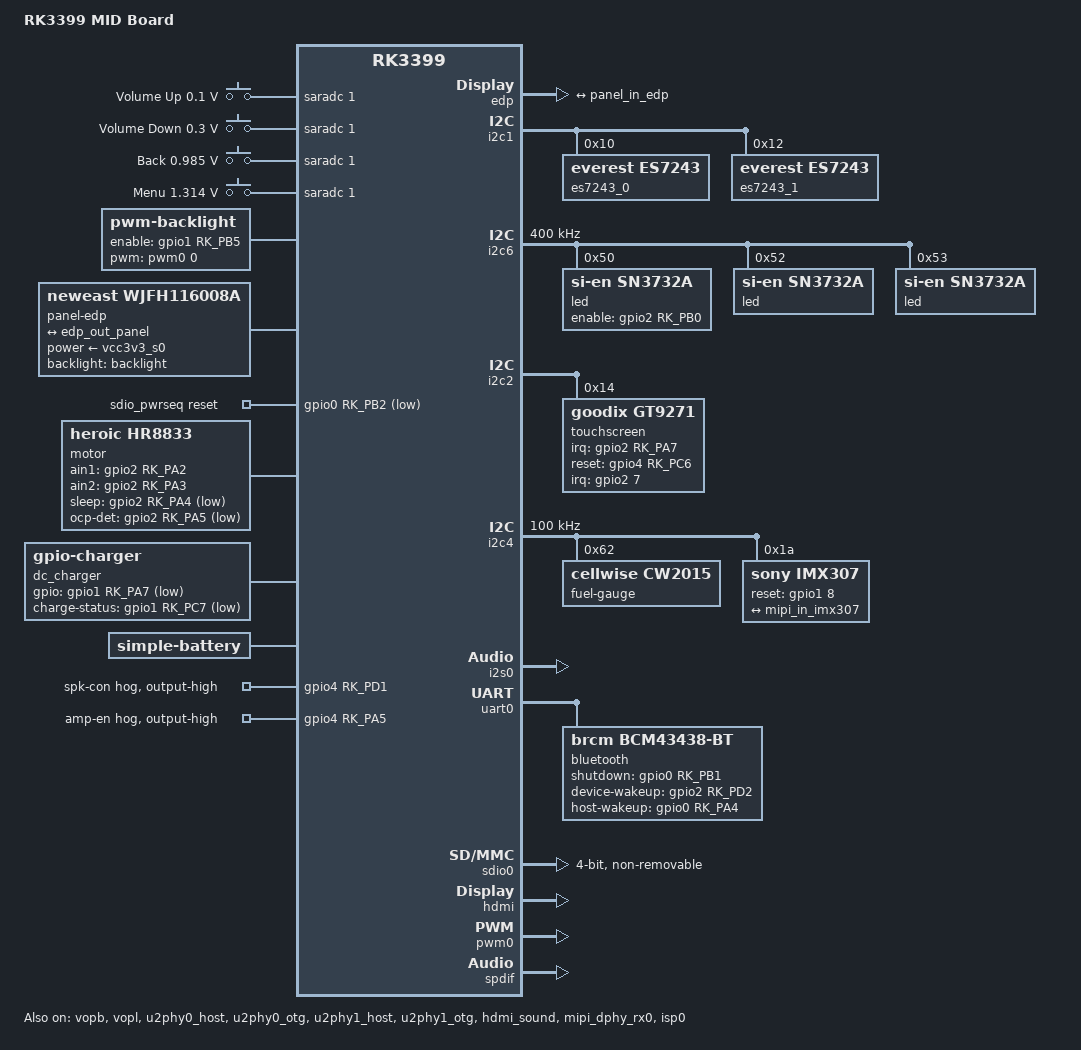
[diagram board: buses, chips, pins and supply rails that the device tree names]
// SPDX-License-Identifier: (GPL-2.0+ OR MIT)
/*
 * RK3399 MID Board (rockchip,rk3399-mid)
 *
 * 血统：Rockchip Sapphire + Excavator 参考设计定制版
 *   - 基础 = mainline rk3399-sapphire.dtsi（SoC 层 + PMIC + GMAC + eMMC/SD 全复用）
 *   - 本板 delta = eDP 1920x1080 屏 + Goodix GT9xx 触摸 + ES8316 音频 + CW2015 电池
 *
 * 依据：vendor DTB（resource.img 抽出，rk3399-mid-stock.dtb）逐项反编译比对
 * 生成：2026-11-10
 *
 * ⚠️ 待实测校准项（首次启动后需验证）：
 *   1. 触摸坐标范围（vendor 报 max-x=1536 / max-y=2048，需确认旋转方向）
 *   2. adc-keys 电压阈值（vendor 用 rockchip,adc_value 原始值，此处暂用 excavator 值）
 *   3. GMAC tx/rx delay（vendor 45/34，sapphire 默认 40/17，先按 vendor）
 */

/dts-v1/;

#include <dt-bindings/gpio/gpio.h>
#include <dt-bindings/interrupt-controller/irq.h>
#include <dt-bindings/input/linux-event-codes.h>
#include <dt-bindings/pinctrl/rockchip.h>
#include "rk3399-sapphire.dtsi"

/ {
	model = "RK3399 MID Board";
	compatible = "rockchip,rk3399-mid", "rockchip,rk3399";

	aliases {
		mmc2 = &sdio0;
	};

	/*
	 * 按键：本板用 rockchip,key（adc）驱动。
	 * mainline 对应 adc-keys，阈值暂用 excavator 官方值，待实测校准。
	 */
	adc-keys {
		compatible = "adc-keys";
		io-channels = <&saradc 1>;
		io-channel-names = "buttons";
		keyup-threshold-microvolt = <1800000>;
		poll-interval = <100>;

		button-up {
			label = "Volume Up";
			linux,code = <KEY_VOLUMEUP>;
			press-threshold-microvolt = <100000>;
		};

		button-down {
			label = "Volume Down";
			linux,code = <KEY_VOLUMEDOWN>;
			press-threshold-microvolt = <300000>;
		};

		button-back {
			label = "Back";
			linux,code = <KEY_BACK>;
			press-threshold-microvolt = <985000>;
		};

		button-menu {
			label = "Menu";
			linux,code = <KEY_MENU>;
			press-threshold-microvolt = <1314000>;
		};
	};

	/*
	 * 背光：vendor  pwms=<&pwm0 0 25000 0>  enable-gpios=<&gpio1 RK_PB5 ACTIVE_HIGH>
	 * 与 excavator 完全一致。
	 */
	backlight: backlight {
		compatible = "pwm-backlight";
		brightness-levels = <
			  0   1   2   3   4   5   6   7
			  8   9  10  11  12  13  14  15
			 16  17  18  19  20  21  22  23
			 24  25  26  27  28  29  30  31
			 32  33  34  35  36  37  38  39
			 40  41  42  43  44  45  46  47
			 48  49  50  51  52  53  54  55
			 56  57  58  59  60  61  62  63
			 64  65  66  67  68  69  70  71
			 72  73  74  75  76  77  78  79
			 80  81  82  83  84  85  86  87
			 88  89  90  91  92  93  94  95
			 96  97  98  99 100 101 102 103
			104 105 106 107 108 109 110 111
			112 113 114 115 116 117 118 119
			120 121 122 123 124 125 126 127
			128 129 130 131 132 133 134 135
			136 137 138 139 140 141 142 143
			144 145 146 147 148 149 150 151
			152 153 154 155 156 157 158 159
			160 161 162 163 164 165 166 167
			168 169 170 171 172 173 174 175
			176 177 178 179 180 181 182 183
			184 185 186 187 188 189 190 191
			192 193 194 195 196 197 198 199
			200 201 202 203 204 205 206 207
			208 209 210 211 212 213 214 215
			216 217 218 219 220 221 222 223
			224 225 226 227 228 229 230 231
			232 233 234 235 236 237 238 239
			240 241 242 243 244 245 246 247
			248 249 250 251 252 253 254 255>;
		default-brightness-level = <200>;
		enable-gpios = <&gpio1 RK_PB5 GPIO_ACTIVE_HIGH>;
		pwms = <&pwm0 0 25000 0>;
		status = "okay";
	};

	/*
	 * eDP 面板 —— 2026-11-16 最终形态（platform 面板 + 端口连线），实测点亮。
	 *
	 * 三条弯路，都已在实机排除：
	 *  ⛔ 1) `edp-panel { compatible = "simple-panel"; display-timings {...} }`（vendor 写法）
	 *       内核 6.18 已无效：panel-simple 删掉了 generic "simple-panel" 匹配，
	 *       且 panel_simple_probe() 见到 DRM_MODE_CONNECTOR_eDP 直接 -EINVAL
	 *       （日志 "eDP panels moved to panel-edp"）⇒ 面板无 driver、dp 永久 deferred、黑屏。
	 *  ⛔ 2) generic `"edp-panel"`：只能在 DP AUX 总线且必须有 EDID。
	 *       本板 AUX 读不到 EDID（/sys/class/drm/card0-eDP-1/edid = 0 字节），
	 *       num_modes/num_timings 全 0 ⇒ connector 一个 mode 都没有。
	 *  ⛔ 3) 面板挂 aux-bus 子节点：analogix_dp_aux_done_probing() 只在 port 1
	 *       （edp_out）的 endpoint 上找下游 panel/bridge，aux-bus 不在端口图里，
	 *       connector 拿不到数据源 ⇒ 依旧黑屏。
	 *
	 *  ✅ 正确写法（参 rk3399-sapphire-excavator）：把面板作为**根节点 platform 设备**，
	 *     用 `port/endpoint` 与 &edp 的 port@1 互相 remote-endpoint。这样
	 *     panel_edp_platform_probe() 用 platform_of_match（表首是 generic "edp-panel"，
	 *     故匹配时 +1 跳过）拿到固定时序，完全不依赖 EDID。
	 *
	 *  面板规格：neweast wjfh116008a，1920x1080@60，138.5 MHz，bpc 6（=18bpp），
	 *  260x150 mm。vendor `bus-format = <0x1009>`（MEDIA_BUS_FMT_RGB666_1X18）亦印证 6bpc。
	 *  ⚠️ 注意 vendor 的消隐区分布与本条目不同（vendor hfp/HSW/hbp = 120/8/32、
	 *     vfp/VSW/vbp = 23/2/6；mainline = 48/32/80、3/5/23），但 htotal 2080、
	 *     vtotal 1111、时钟 138.5 MHz 完全一致，实机出图正常（eDP 的 DE 由 MSA 重建）。
	 */
	panel-edp {
		compatible = "neweast,wjfh116008a";
		backlight = <&backlight>;
		power-supply = <&vcc3v3_s0>;
		status = "okay";

		port {
			panel_in_edp: endpoint {
				remote-endpoint = <&edp_out_panel>;
			};
		};
	};

	/*
	 * ⛔ 2026-11-16 判伪：**本板没有 ES8316**（用户实拍丝印后重定）。
	 *
	 * 音频区实物是两颗：
	 *   - ES7148（Everest 顺芯，QFN-12 2.5×2.5）：24-bit 立体声 DAC，
	 *     **无 I2C、无寄存器**，只要 SCLK/LRCK/CLKIN/SDATA + 3.0~3.6V，上电即工作；
	 *   - HT4832（嘉兴禾润 Heroic，QFN-16 3×3）：立体声**耳机**功放，
	 *     接在 ES7148 的 AOUTLN/AOUTRN 之后（EN 脚低电平关断）。
	 *
	 * ⇒ 此前「0x11 无 ACK ⇒ 供电没到」整套推理建立在错误前提上：
	 *   这颗芯片不存在，也从来没有 I2C 引脚可应答。
	 *   vendor DTS 的 `es8316@11` 只是**空壳节点**——提供 `#sound-dai-cells`
	 *   让 simple-audio-card 能绑定，外加 `spk-con-gpio`/`amp-en-gpio`
	 *   两个自定义属性给功放使能；vendor 驱动不读寄存器，原厂 Android 照常出声。
	 *   mainline 真 es8316.c 一 probe 就打 I2C，于是 210 条 `ASoC error(-6)`。
	 *
	 * 本板音频链路：
	 *   I2S0 ─► ES7148(DAC) ─┬─► HT4832 ─► 3.5mm 耳机
	 *                        └─► 板载 Class-D ─► 喇叭（使能 spk-con/amp-en，已 gpio-hog 常开）
	 */
	es7148: audio-dac {
		/*
		 * mainline 没有 es7148 驱动，但 es7134.c（"a very simple DA converter
		 * with no register"）的 DAI 行为完全等价：纯 I2S 从机、无寄存器、
		 * 只做 mclk/fs 合法性校验（8k–48k 允许 256fs）。
		 * 选 everest,es7144 而不是 ti,pcm5102a，是为了保持同一厂商血统；
		 * 两者都已编成模块（CONFIG_SND_SOC_ES7134=m / PCM5102A=m），可互换。
		 */
		compatible = "everest,es7144";
		#sound-dai-cells = <0>;
	};

	/*
	 * 复合 codec：mainline 版的「vendor es8316」
	 *
	 * 原厂结构是 es8316 codec 驱动统管播放(ES7148)与采集(2x ES7243)，
	 * 两颗 ES7243 只是裸 i2c client，不在任何 sound card 里；4 麦数据从
	 * i2s0 的 capture 通路进系统（原厂 es8316_pcm_startup -> es7243_start）。
	 *
	 * mainline 的 simple-audio-card 一个 dai_link 只能挂一个 codec DAI，
	 * 要播放与采集共用 i2s0，就必须由一个 DAI 同时提供两个方向
	 * ⇒ 本节点对应的驱动（kernel-modules/es7243/es7243.c）同时提供
	 *   playback（ES7148 直通）与 capture（4ch，内含 ES7243 上电时序）。
	 */
	mic_array: mic-array {
		compatible = "rockchip,rk3399-mid-audio";
		#sound-dai-cells = <0>;
		/*
		 * ES7243 在没有 MCLK 之前不应答 I2C（厂商 ESPHome/ESP-ADF 驱动
		 * 里明确写了这点）。由本驱动 probe 时打开并常开，不依赖
		 * rockchip_i2s 的 runtime_resume —— ASoC 里 codec 的 hw_params
		 * 先于 cpu dai 执行，那时 i2s 的 mclk 还没 enable。
		 */
		clocks = <&cru SCLK_I2S0_8CH>;
		clock-names = "mclk";
		everest,adc = <&es7243_0>, <&es7243_1>;
		status = "okay";
	};

	es7148_sound: es7148-sound {
		compatible = "simple-audio-card";
		simple-audio-card,name = "rk3399-mid-es7148";
		simple-audio-card,format = "i2s";
		/* ES7148 的 CLKIN 需要 256fs；SoC 侧由 rockchip_i2s set_sysclk 落频 */
		simple-audio-card,mclk-fs = <256>;
		/* ES7148 只能做从机（只吃时钟）⇒ SoC 必须是 bitclock / frame master */
		simple-audio-card,bitclock-master = <&es7148_cpu>;
		simple-audio-card,frame-master = <&es7148_cpu>;
		/*
		 * 不再写 widgets / routing：
		 * dummy DAC 没有 HPOL/HPOR 之类的 DAPM 引脚，写了只会换来
		 * "Failed to add route" 并让整张卡注册失败（旧版就是这么挂的）。
		 * 喇叭与耳机在硬件上直接挂在 DAC 输出之后，无需软件路由。
		 */

		es7148_cpu: simple-audio-card,cpu {
			sound-dai = <&i2s0>;
		};

		simple-audio-card,codec {
			/*
			 * 注意：不再是 &es7148（es7134 占位），而是能同时给
			 * playback + capture 的复合 codec —— 否则 card 0 根本
			 * 不会有 capture PCM（arecord -l 里看不到）。
			 */
			sound-dai = <&mic_array>;
		};
	};

	/* SDIO WiFi 电源序列（vendor reset-gpios = gpio0 RK_PB2 ACTIVE_LOW） */
	sdio_pwrseq: sdio-pwrseq {
		compatible = "mmc-pwrseq-simple";
		clocks = <&rk808 1>;
		clock-names = "ext_clock";
		pinctrl-names = "default";
		pinctrl-0 = <&wifi_enable_h>;
		reset-gpios = <&gpio0 RK_PB2 GPIO_ACTIVE_LOW>;
	};

	/*
	 * 云台单轴电机 —— HR8833 双 H 桥（mainline 无此驱动，需自写）
	 *
	 * 引脚完全取自 vendor /motor 节点：
	 *   AIN1    GPIO2_A2  高 = 正转
	 *   AIN2    GPIO2_A3  高 = 反转
	 *   nSLEEP  GPIO2_A4  ACTIVE_LOW（vendor flag=0x01），逻辑 1 = 休眠
	 *   OCP-DET GPIO2_A5  ACTIVE_LOW（vendor flag=0x08），逻辑 1 = 过流
	 *
	 * 注意 vendor 用的是单数属性名 ain1-gpio，这里按 mainline 规范写复数
	 * ain1-gpios（gpiod_get 两者都认，复数更标准）。
	 * 驱动源码：kernel-modules/hr8833/hr8833.c（经 0001-misc-add-hr8833.patch
	 * 编入内核），用户态接口 /dev/hr8833 + /sys/class/misc/hr8833/device/。
	 */
	motor: motor {
		compatible = "heroic,hr8833";
		ain1-gpios = <&gpio2 RK_PA2 GPIO_ACTIVE_HIGH>;
		ain2-gpios = <&gpio2 RK_PA3 GPIO_ACTIVE_HIGH>;
		sleep-gpios = <&gpio2 RK_PA4 GPIO_ACTIVE_LOW>;
		/*
		 * nFAULT 是开漏输出（datasheet: "Logic low when in fault
		 * condition"），必须有上拉才能读到高电平。这里显式带
		 * GPIO_PULL_UP flag，与 vendor 的 flag=0x08 一致；
		 * 只靠 pinctrl 的 pcfg_pull_up 在 gpiolib request 之后会被
		 * 覆盖，实测过 pin69 仍是 pull-down。
		 */
		ocp-det-gpios = <&gpio2 RK_PA5 (GPIO_ACTIVE_LOW | GPIO_PULL_UP)>;
		pinctrl-names = "default";
		pinctrl-0 = <&motor_pins>;
		status = "okay";
	};

	/*
	 * DC 插入检测 —— 原来完全没有，导致 cw2015 每 2 秒刷一条
	 *   "Failed to get supply state: -19"（power_supply_am_i_supplied
	 *   找不到供电源返回 -ENODEV），且电池状态永远是 Discharging。
	 *
	 * 引脚来自 vendor DTS（原文 dc_det_gpio = <0x34 0x07 0x01>，flag 0x01 = ACTIVE_LOW）：
	 *   dc_det_gpio   = <&gpio1 RK_PA7 GPIO_ACTIVE_LOW>    ← 插 DC 时拉低
	 *   charge-ok     = <&gpio1 RK_PC7 GPIO_ACTIVE_LOW>    ← 充电 IC 状态（开漏）
	 *
	 * 2026-11-16 实测：插着 DC 时该脚读到 0。原先误写 ACTIVE_HIGH，导致
	 * ONLINE 恒 0、电池恒报 Discharging —— 但充电实际在进行（CW2015 电压
	 * 从 3.88V 升到 4.19V，×2 分压即 7.76→8.38V 可证）。极性改正后
	 * ONLINE 应为 1、电池状态转 Charging。
	 */
	dc_charger: dc-charger {
		compatible = "gpio-charger";
		charger-type = "mains";
		gpios = <&gpio1 RK_PA7 GPIO_ACTIVE_LOW>;
		charge-status-gpios = <&gpio1 RK_PC7 GPIO_ACTIVE_LOW>;
	};

	/*
	 * 电池静态参数 —— CW2015 的 CHARGE_FULL_DESIGN / CURRENT_NOW /
	 * TIME_TO_EMPTY 全部依赖它，没有这个节点读出来全是 0。
	 *
	 * ⚠️ 容量 5000 mAh 为估值（Android 镜像与 ADB 基线里都没留容量信息），
	 *    待实测放电曲线校准。电压范围按 2S 锂电包。
	 */
	battery: battery {
		compatible = "simple-battery";
		device-chemistry = "lithium-ion";
		charge-full-design-microamp-hours = <5000000>;
		voltage-min-design-microvolt = <6000000>;
		voltage-max-design-microvolt = <8400000>;
	};
};

/* ---------------- eDP ---------------- */
&edp {
	pinctrl-names = "default";
	pinctrl-0 = <&edp_hpd>;
	status = "okay";

	/*
	 * port@1（输出侧）的 endpoint 是 analogix_dp_aux_done_probing() /
	 * drm_of_find_panel_or_bridge() 唯一会去找下游面板的位置。
	 * 必须与根节点 panel-edp 的 endpoint 互相 remote-endpoint，否则
	 * connector 找不到面板 ⇒ 无 mode ⇒ 黑屏。
	 */
	ports {
		port@0 {
			/*
			 * ★ 删掉 edp_in_vopb，eDP 只保留 VOPL。
			 * 原因见 &vopl_out 上方的长注释（CRTC 绑定锁死）。
			 */
			/delete-node/ endpoint@0;
		};

		port@1 {
			reg = <1>;

			edp_out_panel: endpoint {
				remote-endpoint = <&panel_in_edp>;
			};
		};
	};
};

/*
 * ★ CRTC 绑定锁死：eDP → VOPL，HDMI → VOPB
 *
 * 基础 dtsi 里 eDP 和 HDMI 各自都有两条输入端点，同时连着 VOPB 和 VOPL，
 * 于是 drm_of_find_possible_crtcs() 会把两个 VOP 都算进两者的 possible_crtcs。
 * 运行中热插拔 HDMI 时 rockchip-drm 会做全量 atomic modeset 并重新挑 CRTC，
 * 一旦抢到 eDP 正在用的那个 ⇒ commit 失败 ⇒ 两块屏一起黑，极端情况整机挂死
 * （本板 2026-11-16 实测踩到：拔 HDMI 后 eDP 也黑，且 SSH 完全失联）。
 *
 * 把多余的连线删掉后，每个显示器的 possible_crtcs 只剩一个 VOP：
 *   eDP  → VOPL（内屏 1080p60，像素时钟 148.5MHz，VOPL 带得动，且只需 1 个窗口）
 *   HDMI → VOPB（4K 只有大 VOP 扛得住）
 * 两者不可能抢同一个 CRTC，热插拔不会再波及对方。
 *
 * 注意：删 endpoint 时必须成对删（输入端 + VOP 输出端），否则 dtc 会报
 * "Reference to non-existent node"（phandle 指向已删除节点）。
 */

/* eDP 占用 vopl_out 的 endpoint@1（vopl_out_edp），保留 */
&vopl_out {
	/* hdmi_in_vopl 已被删，对应的 vopl_out_hdmi 必须同步删掉 */
	/delete-node/ endpoint@2;
};

/* HDMI 占专用 vopb_out 的 endpoint@2（vopb_out_hdmi），保留 */
&vopb_out {
	/* edp_in_vopb 已被删，对应的 vopb_out_edp 必须同步删掉 */
	/delete-node/ endpoint@0;
};

/* ---------------- I2C1：ES8316 音频 + ES7243 麦阵 ---------------- */
&i2c1 {
	i2c-scl-rising-time-ns = <300>;
	i2c-scl-falling-time-ns = <15>;
	status = "okay";

	/*
	 * ⛔ 此处原有一个 `es8316@11` 节点，2026-11-16 已删除。
	 *
	 * 原因：板上**没有 ES8316**（用户实拍丝印：音频区是 ES7148 + HT4832）。
	 * 旧的证据链（"ES7243 在 0x10/0x12 应答 ⇒ 总线正常，所以 0x11 不响就是供电没到"）
	 * 是从「芯片存在」这个错误前提出发的，推理本身没错但结论无意义。
	 * ES7148 根本没有 I2C 接口，0x11 当然永远不 ACK，210 条 ASoC error(-6) 同理。
	 *
	 * 留在这里的只有两颗真实存在的 ES7243 麦阵 ADC。
	 */

	/*
	 * 2026-11-16 实物扫描确认：i2c-1 上 0x10 / 0x12 均有设备应答（ES7243 ×2）。
	 * mainline 无 es7243 驱动，节点仅用于标识，不会有 driver 绑定。
	 */
	es7243_0: audio-codec@10 {
		compatible = "everest,es7243";
		reg = <0x10>;
		#sound-dai-cells = <0>;
		status = "okay";
	};

	es7243_1: audio-codec@12 {
		compatible = "everest,es7243";
		reg = <0x12>;
		#sound-dai-cells = <0>;
		status = "okay";
	};
};

/* ---------------- I2C6：SN3732A LED 控制器 ×3（ff150000）---------------- */
/*
 * ★ 2026-11-16 判伪：SN3732A 是 Si-En「趣味灯 / 矩阵 LED」驱动，**不是音频功放**。
 *   同族 SN3726(16 位 LED) / SN3728(音频调制 LED 矩阵) / SN3730(音频调制 LED 矩阵)
 *   / SN3731(144 颗 LED 矩阵) 全部是 LED 驱动；"audio modulated" 指灯效随音乐呼吸。
 *   三颗同挂靠 I2C 地址区分（该族规格：地址可选，最多支持挂四颗），与声道无关。
 *   喇叭功放是另一颗无 I2C 的模拟输入 Class-D，靠 spk-con(GPIO4_D1) /
 *   amp-en(GPIO4_A5) 使能，故本 DTS 无其节点。
 *
 * 节点：0x50 那颗带 enable-gpio = GPIO2 RK_PB0（灯控使能）。
 * mainline 无 si-en,sn3732a 驱动（leds-is31fl32xx 只收了 sn3216/sn3218），
 * 这里只让总线可用以便 i2cdetect 验证硬件；节点名用 led@ 而非 amp@。
 */
&i2c6 {
	status = "okay";
	clock-frequency = <400000>;

	led@50 {
		compatible = "si-en,sn3732a";
		reg = <0x50>;
		enable-gpio = <&gpio2 RK_PB0 GPIO_ACTIVE_HIGH>;
		status = "okay";
	};

	led@52 {
		compatible = "si-en,sn3732a";
		reg = <0x52>;
		status = "okay";
	};

	led@53 {
		compatible = "si-en,sn3732a";
		reg = <0x53>;
		status = "okay";
	};
};

/* ---------------- I2C2：Goodix GT9xx 触摸 ---------------- */
&i2c2 {
	i2c-scl-rising-time-ns = <150>;
	i2c-scl-falling-time-ns = <20>;
	status = "okay";

	touchscreen@14 {
		/*
		 * 2026-11-16 实测修正：屏下的触摸芯片是 **GT9271**（驱动回读 ID=9271），
		 * 且 GT9xx 的 I2C 从地址由**复位释放瞬间 INT 脚电平**决定：
		 *   INT 低 → 0x5D，INT 高 → 0x14。
		 * 本板 INT 脚（GPIO2_A7）为默认上拉 ⇒ 芯片落在 **0x14**。
		 * 旧写 reg = <0x5d>（照抄 vendor）时驱动一直读 0x5d 收不到 ACK：
		 *   dmesg: "Error reading 1 bytes from 0x8140: -6" /
		 *          "I2C communication failure: -6"
		 * 实测 i2cdetect -y 2 只有 0x14 应答，0x5d 无。
		 *
		 * goodix 驱动对 0x14 有专门处理（goodix.c：
		 *   goodix_irq_direction_output(ts, ts->client->addr == 0x14)），
		 * 复位时会把 INT 拉高来锁定 0x14；但这要求 **irq-gpios 存在**
		 * （否则 irq_pin_access_method = NONE，复位流程直接失败）。
		 * 所以 irq-gpios 与 interrupts 必须同时给：前者供驱动复位选地址，
		 * 后者供 Linux 申请中断。
		 */
		compatible = "goodix,gt9271";
		reg = <0x14>;
		interrupt-parent = <&gpio2>;
		interrupts = <7 IRQ_TYPE_EDGE_FALLING>;
		irq-gpios = <&gpio2 RK_PA7 GPIO_ACTIVE_HIGH>;
		reset-gpios = <&gpio4 RK_PC6 GPIO_ACTIVE_HIGH>;
		/*
		 * 2026-11-16 修正：原来 pinctrl-0 = <&touch_int &lcd_panel_reset>，
		 * 而 lcd_panel_reset 是 gpio3 RK_PA4，该脚已被 fe300000.ethernet(GMAC) 申请，
		 * 导致 pinctrl 报 "pin gpio3-4 already requested by fe300000.ethernet"
		 * → probe -EINVAL，触摸完全没有 driver。
		 * vendor DTB 中触摸只用了中断脚，故只保留 touch_int。
		 */
		pinctrl-names = "default";
		pinctrl-0 = <&touch_int>;
		touchscreen-size-x = <1920>;
		touchscreen-size-y = <1080>;
		status = "okay";
	};
};

/* ---------------- I2C4：CW2015 电量计 + 充电检测 ---------------- */
&i2c4 {
	i2c-scl-rising-time-ns = <345>;
	i2c-scl-falling-time-ns = <11>;
	clock-frequency = <100000>;
	status = "okay";

	fuel-gauge@62 {
		compatible = "cellwise,cw2015";
		reg = <0x62>;
		cellwise,battery-profile = /bits/ 8 <
			0x15 0x7e 0x67 0x59 0x3e 0x49 0x5b 0x63
			0x5a 0x4e 0x49 0x4a 0x50 0x5c 0x67 0x65
			0x56 0x49 0x44 0x42 0x41 0x42 0x46 0x4f
			0x58 0x60 0x0b 0x85 0x4b 0x76 0x8d 0xa1
			0xae 0xaf 0xb2 0xb8 0x36 0x0e 0x64 0x01
			0x01 0x3b 0x38 0x6b 0x73 0x9a 0x9b 0x0f
			0x26 0x70 0xa2 0xc3 0x80 0xbf 0x94 0xcb
			0x2f 0x7d 0x72 0xa5 0xb5 0xc1 0x58 0xc9>;
		cellwise,monitor-interval-ms = <2000>;
		monitored-battery = <&battery>;
		power-supplies = <&dc_charger>;

		/*
		 * ⚠️ 电压少报一半（已知未解决）
		 * vendor DTS 还有 divider_res1 = divider_res2 = 0xc8 (200)，
		 * 即电池电压经 200k/200k 分压后才进 CW2015。
		 * mainline cw2015_battery.c 的 cw_get_voltage() 只做
		 *   voltage_mv = avg * 312 / 1024
		 * 没有 divider 补偿，所以 voltage_now 只有实际值的一半。
		 * 实测 3.97V → 实际电池 7.95V（2S 电池包）。
		 * SOC 不受影响（芯片内部按单体电压查表）。
		 * 要修需要给驱动打补丁加 divider 支持。
		 */
	};
};

/* ---------------- 音频 I2S ---------------- */
&i2s0 {
	rockchip,playback-channels = <8>;
	rockchip,capture-channels = <8>;
	/*
	 * MCLK 不用额外补：mainline 的 `i2s0_8ch_bus` 第 9 项就是
	 *   <4 RK_PA0 1 &pcfg_pull_none>   = GPIO4_A0 = I2S0_MCLK
	 * （vendor 拆成独立的 `i2s-8ch-mclk` 组挂在 codec 节点上，
	 *  mainline 已并进 bus 组，且没有 i2s0_8ch_mclk 这个标签，别去引用它）。
	 */
	status = "okay";
};

/*
 * 模拟部分供电：旧版靠 es8316 节点的 avdd/dvdd-supply 顺带拉起，
 * 节点删掉后必须显式常开，否则 ES7148 / HT4832 / ES7243 全部掉电
 * （连 ES7243 的 I2C 应答都会跟着消失）。
 */
&vcca3v0_codec {
	regulator-always-on;
};

&vcca1v8_codec {
	regulator-always-on;
};

/* ---------------- 显示 ---------------- */
&vopb {
	status = "okay";
};

&vopb_mmu {
	status = "okay";
};

&vopl {
	status = "okay";
};

&vopl_mmu {
	status = "okay";
};

/* ---------------- pinctrl ---------------- */
&pinctrl {
	sdio-pwrseq {
		wifi_enable_h: wifi-enable-h {
			rockchip,pins = <0 RK_PB2 RK_FUNC_GPIO &pcfg_pull_none>;
		};
	};

	touch {
		touch_int: touch-int {
			rockchip,pins = <2 RK_PA7 RK_FUNC_GPIO &pcfg_pull_up>;
		};
	};

	/* 云台 4 根线：AIN1/AIN2/nSLEEP 输出，OCP-DET 输入带上拉 */
	motor {
		motor_pins: motor-pins {
			rockchip,pins =
				<2 RK_PA2 RK_FUNC_GPIO &pcfg_pull_none>,
				<2 RK_PA3 RK_FUNC_GPIO &pcfg_pull_none>,
				<2 RK_PA4 RK_FUNC_GPIO &pcfg_pull_none>,
				<2 RK_PA5 RK_FUNC_GPIO &pcfg_pull_up>;
		};
	};

	/*
	 * 摄像头 MCLK：GPIO2_B3 func3 = CIF_CLKOUT。
	 * 依据 vendor DTS 的 cif-clkout 组（<0x02 0x0b 0x03 0xbc>，作 ISP pinctrl-0）
	 * 与 cam_board.xml 的 SensorMclk=37125000。
	 * ★ 2026-11-17 实测教训：mainline rkisp1 不带这个 pinctrl，脚一直 UNCLAIMED，
	 *   clk_cifout 停在默认 6 MHz 无 consumer ⇒ sensor 拿不到 INCK，
	 *   写 0x3000=STREAMING 后会自己退回 STANDBY，MIPI 无数据。
	 */
	camera {
		cif_clkout: cif-clkout {
			rockchip,pins = <2 RK_PB3 3 &pcfg_pull_none>;
		};
	};
};

/* ---------------- UART0：AP6255 蓝牙（BCM4345C0） ---------------- */
/*
 * 2026-11-16 新增。AP6255 = WiFi(SDIO) + BT(UART) 二合一模块。
 * vendor 侧参数（rk3399-mid-stock.dts wireless-bluetooth 节点）：
 *   BT,reset_gpio   = <&gpio0 9 0>   → GPIO0_B1  BT_REG_ON（高=上电）
 *   BT,wake_gpio    = <&gpio2 26 0>  → GPIO2_D2  host→device 唤醒
 *   BT,wake_host_irq= <&gpio0 4 0>   → GPIO0_A4  device→host 唤醒
 *   uart_rts_gpios  = <&gpio2 19 1>  → GPIO2_C3  (= uart0 RTS 复用脚)
 *
 * ⚠️ RTS 必须一起复用（uart0_rts），这是关键：
 *   sapphire.dtsi 默认只复用 uart0_xfer + uart0_cts，RTS 脚留在 GPIO 态。
 *   实测该状态下 hci0 能建出来，但 "command 0x0c03 tx timeout /
 *   BCM: Reset failed (-110)" —— 因为模块侧 CTS 悬空，模块不放行发送。
 *   补上 &uart0_rts 后一次通过：芯片 ID 107、features 0x2f、
 *   HCD 补丁下载成功、波特率升到 37.4 MHz。
 */
&uart0 {
	pinctrl-names = "default";
	pinctrl-0 = <&uart0_xfer &uart0_cts &uart0_rts>;
	status = "okay";

	bluetooth {
		compatible = "brcm,bcm43438-bt";
		clocks = <&rk808 1>;
		clock-names = "ext_clock";
		shutdown-gpios = <&gpio0 RK_PB1 GPIO_ACTIVE_HIGH>;
		device-wakeup-gpios = <&gpio2 RK_PD2 GPIO_ACTIVE_HIGH>;
		host-wakeup-gpios = <&gpio0 RK_PA4 GPIO_ACTIVE_HIGH>;
	};
};

/* ---------------- SDIO WiFi ---------------- */
&sdio0 {
	bus-width = <4>;
	cap-sd-highspeed;
	cap-sdio-irq;
	clock-frequency = <50000000>;
	keep-power-in-suspend;
	max-frequency = <50000000>;
	mmc-pwrseq = <&sdio_pwrseq>;
	non-removable;
	pinctrl-names = "default";
	pinctrl-0 = <&sdio0_bus4 &sdio0_cmd &sdio0_clk>;
	sd-uhs-sdr104;
	status = "okay";
};

/* ---------------- GMAC：vendor tx_delay=45 / rx_delay=34 ---------------- */
&gmac {
	tx_delay = <0x2d>;
	rx_delay = <0x22>;
};

/* ---------------- USB Host 5V 使能：移到本板真实引脚 ---------------- */
/*
 * 2026-11-16 实测发现：mainline rk3399-sapphire.dtsi 把 vcc5v0_host 的使能脚
 * 定在 GPIO4_D1（pin 25），那是 **Sapphire 参考设计** 的引脚，本板不是。
 *
 * 本板该脚的真实身份是 vendor 的 spk-con-gpio（喇叭功放控制）：
 *   vendor es8316@11 { spk-con-gpio = <&gpio4 0x19 0x00>; }   // 0x19 = 25 = GPIO4_D1
 * 而 vendor 实际的两路 USB 5V 使能是：
 *   vcc5v0_host0 = <&gpio2 RK_PB4>   (0x0c = 12)
 *   vcc5v0_host1 = <&gpio4 RK_PC3>   (0x1b = 27)
 *
 * 结果：vcc5v0_host 一直把 GPIO4_D1 当 USB 5V 使能拉高，等于占用喇叭控制脚；
 * 同时真正的 USB 5V 使能脚（GPIO2_B4）无人管理。实测 USB 仍能用，是因为
 * 5V 通路本身常通，但这属于"碰巧能用"，不是正确配置。
 *
 * 改正：把 vcc5v0_host 移到 GPIO2_B4（本板 host0 的真实位置），
 * GPIO4_D1 让回给 spk-con。pinctrl 组 vcc5v0_host_en 配的是 GPIO4_D1，
 * 必须一并删掉，否则仍会把该脚抢走。
 */
&vcc5v0_host {
	gpio = <&gpio2 RK_PB4 GPIO_ACTIVE_HIGH>;
	/delete-property/ pinctrl-names;
	/delete-property/ pinctrl-0;
};

/* ---------------- 功放使能：常开 ---------------- */
/*
 * vendor es8316@11 里还有两条 mainline 驱动**不解析**的输出脚：
 *   spk-con-gpio = <&gpio4 RK_PD1 GPIO_ACTIVE_HIGH>   // 喇叭功放使能
 *   amp-en-gpio  = <&gpio4 RK_PA5 GPIO_ACTIVE_HIGH>   // 功放使能
 * mainline es8316.c 只认 avdd/dvdd/pvdd，这两个属性被忽略 ⇒ 引脚无人驱动，
 * 保持 SoC 复位默认（输入/浮空），功放一直处于关断。
 * 用 gpio-hog 固定输出高，等效于 vendor 驱动里的开机拉高。
 * 注意 spk-con 原被 mainline 的 vcc5v0_host 误占（见上文），移走后才能 hog。
 */
&gpio4 {
	spk-con-hog {
		gpio-hog;
		gpios = <RK_PD1 GPIO_ACTIVE_HIGH>;
		output-high;
		line-name = "spk-con";
	};

	amp-en-hog {
		gpio-hog;
		gpios = <RK_PA5 GPIO_ACTIVE_HIGH>;
		output-high;
		line-name = "amp-en";
	};
};

/* ---------------- USB2 PHY：修 phy-supply 死锁 ---------------- */
/*
 * 2026-11-16 实测根因：usb2phy@e450 的 host-port 上
 *   phy-supply = <&vcc5v0_typec0>
 * 而 vcc5v0_typec0 这个 regulator-fixed（gpio2 RK_PA0）在本板注册失败，
 * /sys/class/regulator 里根本没有它 ⇒ phy_create() 里
 * regulator_get_optional("phy") 返回 -EPROBE_DEFER ⇒
 *   devm_phy_create() 失败 ⇒ "rockchip-usb2phy: failed to create phy"
 * ⇒ fe800000(OTG) / fe380000 / fe3a0000 三个 USB 控制器全部 deferred，
 *    只有 fe900000(USB3 Host) 和 fe3c0000/fe3e0000 那一组起来了。
 *
 * 本板硬件清单里没有 Type-C，vcc5v0_typec0 本就是 Sapphire 参考设计的冗余，
 * 改指向已注册且 always-on 的 vcc5v0_host 即可解开死锁。
 */
&u2phy0_host {
	phy-supply = <&vcc5v0_host>;
	status = "okay";
};

&u2phy0_otg {
	status = "okay";
};

&u2phy1_host {
	status = "okay";
};

&u2phy1_otg {
	status = "okay";
};

/* ---------------- 关闭本板不存在的设备 ---------------- */
&pcie_phy {
	status = "disabled";
};

&pcie0 {
	status = "disabled";
};

/*
 * 板载 miniHDMI 接口。ddc-i2c-bus 由基础 dtsi 指向 i2c3(ff130000)，实测该总线
 * 已 okay；RK3399 的 inno HDMI PHY 由 dw_hdmi-rockchip 内部处理，无需独立 phy 节点。
 */
&hdmi {
	status = "okay";

	ports {
		port@0 {
			/*
			 * ★ 删掉 hdmi_in_vopl，HDMI 只保留 VOPB（4K 需要大 VOP）。
			 * 原因见 &vopl_out 上方的长注释（CRTC 绑定锁死）。
			 */
			/delete-node/ endpoint@1;
		};
	};
};

&hdmi_sound {
	status = "okay";
};

/* 背光 PWM 输出脚 */
&pwm0 {
	pinctrl-names = "default";
	pinctrl-0 = <&pwm0_pin>;
	status = "okay";
};

&spdif {
	status = "okay";
};

/* ---------------- 摄像头：Sony IMX307 + rkisp1（2026-11-16，11-17 修正）-----
 * 型号依据：原厂 /etc/cam_board.xml + IMX307_CMK-OT0712-FV2.xml +
 *   libisp_isi_drv_IMX307.so + 实机 CHIP_ID@0x301e=0xb2（四重证据）。
 * 硬件：i2c4 @0x1a，MIPI CSI-2 2-lane 到 ISP0，供电板上常开（vendor
 *   cam_board.xml 把 AVDD/DOVDD/DVDD 全标 NC）⇒ 不声明 *-supply，
 *   imx307.c 对 devm_regulator_get_optional() 的 -ENODEV 视为"无此 raíl"。
 * 复位：GPIO1_B0（cam_board.xml: RK30_PIN1_PB0）。
 *   ★ 2026-11-17 实测：物理拉低 ⇒ i2c 立刻 ENXIO；拉高 ⇒ 正常应答。
 *   即复位有效=低、工作=高 ⇒ 必须 GPIO_ACTIVE_HIGH。
 *   之前写 ACTIVE_LOW，驱动 __imx307_power_on() 末尾 set(1) 被翻译成物理低，
 *   芯片被一直按在复位里，probe 报 "Unexpected sensor id(000000), ret(-5)"。
 * MCLK：GPIO2_B3 func3 = CIF_CLKOUT，37.125 MHz（cam_board.xml SensorMclk）。
 *   ★ 之前用 fixed-clock 占位是错的：那只骗过驱动，脚上并没有波形。
 */
&i2c4 {
	imx307: camera@1a {
		compatible = "sony,imx307";
		reg = <0x1a>;
		pinctrl-names = "default";
		pinctrl-0 = <&cif_clkout>;
		clocks = <&cru SCLK_CIF_OUT>;
		clock-names = "xvclk";
		assigned-clocks = <&cru SCLK_CIF_OUT>;
		assigned-clock-rates = <37125000>;
		reset-gpios = <&gpio1 8 GPIO_ACTIVE_HIGH>;   /* GPIO1_B0 */
		/* PWDN1 = GPIO1_B1 板上常开，不声明 pwdn-gpios */

		port {
			imx307_out: endpoint {
				remote-endpoint = <&mipi_in_imx307>;
				data-lanes = <1 2>;
				link-frequencies = /bits/ 64 <222750000>;
			};
		};
	};
};

&mipi_dphy_rx0 {
	status = "okay";
};

&isp0 {
	status = "okay";

	ports {
		port@0 {
			mipi_in_imx307: endpoint@0 {
				reg = <0>;
				remote-endpoint = <&imx307_out>;
				data-lanes = <1 2>;
			};
		};
	};
};
